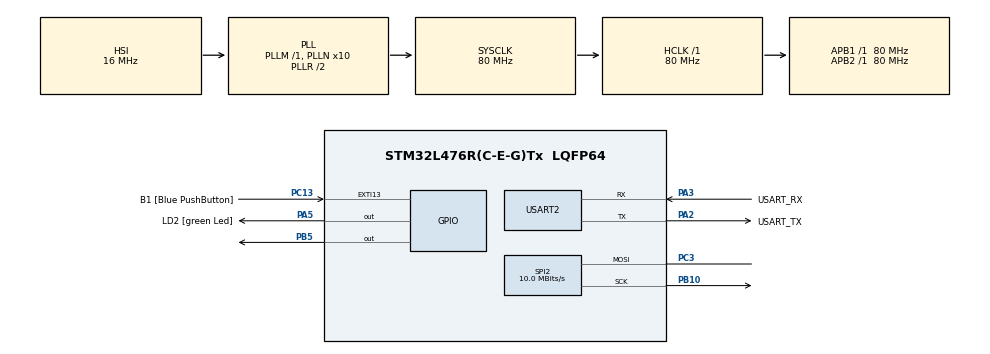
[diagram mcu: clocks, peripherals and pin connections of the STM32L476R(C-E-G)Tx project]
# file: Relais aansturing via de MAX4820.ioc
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Mcu.Family=STM32L4
Mcu.Name=STM32L476R(C-E-G)Tx
Mcu.Package=LQFP64
NVIC.PriorityGroup=NVIC_PRIORITYGROUP_4
PA13\ (JTMS-SWDIO).GPIO_Label=TMS
PA13\ (JTMS-SWDIO).Mode=Serial_Wire
PA13\ (JTMS-SWDIO).Signal=SYS_JTMS-SWDIO
PA14\ (JTCK-SWCLK).GPIO_Label=TCK
PA14\ (JTCK-SWCLK).Mode=Serial_Wire
PA14\ (JTCK-SWCLK).Signal=SYS_JTCK-SWCLK
PA2.GPIO_Label=USART_TX
PA2.GPIO_Mode=GPIO_MODE_AF_PP
PA2.GPIO_PuPd=GPIO_NOPULL
PA2.GPIO_Speed=GPIO_SPEED_FREQ_VERY_HIGH
PA2.Mode=Asynchronous
PA2.Signal=USART2_TX
PA3.GPIO_Label=USART_RX
PA3.GPIO_Mode=GPIO_MODE_AF_PP
PA3.GPIO_PuPd=GPIO_NOPULL
PA3.GPIO_Speed=GPIO_SPEED_FREQ_VERY_HIGH
PA3.Mode=Asynchronous
PA3.Signal=USART2_RX
PA5.GPIO_Label=LD2 [green Led]
PA5.GPIO_ModeDefaultOutputPP=GPIO_MODE_OUTPUT_PP
PA5.GPIO_PuPd=GPIO_NOPULL
PA5.GPIO_Speed=GPIO_SPEED_FREQ_LOW
PA5.Signal=GPIO_Output
PB10.Mode=Simplex_Bidirectional_Master
PB10.Signal=SPI2_SCK
PB3\ (JTDO-TRACESWO).GPIO_Label=SWO
PB3\ (JTDO-TRACESWO).Signal=SYS_JTDO-SWO
PB5.PinState=GPIO_PIN_SET
PB5.Signal=GPIO_Output
PC13.GPIO_Label=B1 [Blue PushButton]
PC13.GPIO_ModeDefaultEXTI=GPIO_MODE_IT_FALLING
PC13.GPIO_PuPd=GPIO_NOPULL
PC13.Signal=GPXTI13
PC14-OSC32_IN\ (PC14).Mode=LSE-External-Oscillator
PC14-OSC32_IN\ (PC14).Signal=RCC_OSC32_IN
PC15-OSC32_OUT\ (PC15).Mode=LSE-External-Oscillator
PC15-OSC32_OUT\ (PC15).Signal=RCC_OSC32_OUT
PC3.Mode=Simplex_Bidirectional_Master
PC3.Signal=SPI2_MOSI
PH0-OSC_IN\ (PH0).Signal=RCC_OSC_IN
PH1-OSC_OUT\ (PH1).Signal=RCC_OSC_OUT
ProjectManager.HeapSize=0x200
ProjectManager.StackSize=0x400
ProjectManager.TargetToolchain=STM32CubeIDE
RCC.ADCFreq_Value=64000000
RCC.AHBFreq_Value=80000000
RCC.APB1Freq_Value=80000000
RCC.APB1TimFreq_Value=80000000
RCC.APB2Freq_Value=80000000
RCC.APB2TimFreq_Value=80000000
RCC.CortexFreq_Value=80000000
RCC.HCLKFreq_Value=80000000
RCC.HSE_VALUE=8000000
RCC.HSI_VALUE=16000000
RCC.MSI_VALUE=4000000
RCC.PLLN=10
RCC.PLLSourceVirtual=RCC_PLLSOURCE_HSI
RCC.PREFETCH_ENABLE=1
RCC.SYSCLKFreq_VALUE=80000000
RCC.SYSCLKSource=RCC_SYSCLKSOURCE_PLLCLK
RCC.USBFreq_Value=64000000
RCC.VCOOutputFreq_Value=160000000
SPI2.BaudRatePrescaler=SPI_BAUDRATEPRESCALER_8
SPI2.CalculateBaudRate=10.0 MBits/s
SPI2.DataSize=SPI_DATASIZE_8BIT
SPI2.Direction=SPI_DIRECTION_1LINE
SPI2.FirstBit=SPI_FIRSTBIT_MSB
SPI2.Mode=SPI_MODE_MASTER
SPI2.VirtualType=VM_MASTER
USART2.VirtualMode-Asynchronous=VM_ASYNC
board=NUCLEO-L476RG

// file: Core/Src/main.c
/* USER CODE BEGIN Header */
/**
  ******************************************************************************
  * @file           : main.c
  * @brief          : Main program body
  ******************************************************************************
  * @attention
  *
  * Copyright (c) 2024 STMicroelectronics.
  * All rights reserved.
  *
  * This software is licensed under terms that can be found in the LICENSE file
  * in the root directory of this software component.
  * If no LICENSE file comes with this software, it is provided AS-IS.
  *
  ******************************************************************************
  */
/* USER CODE END Header */
#include "main.h"

/* USER CODE BEGIN Includes */
extern SPI_HandleTypeDef hspi2;

#define MAX4820_CS_PIN    GPIO_PIN_5   // De GPIO pin die verbonden is met CS
#define MAX4820_CS_PORT   GPIOB        // De GPIO poort die verbonden is met CS

/* USER CODE END Includes */

SPI_HandleTypeDef hspi2;

UART_HandleTypeDef huart2;

/* USER CODE BEGIN PV */
uint8_t MAX4820_SS_Pin = GPIO_PIN_5; //port B
/* USER CODE END PV */

void SystemClock_Config(void);
static void MX_GPIO_Init(void);
static void MX_USART2_UART_Init(void);
static void MX_SPI2_Init(void);
/* USER CODE BEGIN PFP */

void MAX4820_Select(void)
{
    HAL_GPIO_WritePin(MAX4820_CS_PORT, MAX4820_CS_PIN, GPIO_PIN_RESET); // CS low
}
void MAX4820_Deselect(void)
{
    HAL_GPIO_WritePin(MAX4820_CS_PORT, MAX4820_CS_PIN, GPIO_PIN_SET);   // CS high
}

void MAX4820_SendData(uint8_t data)
{
	uint8_t txData[1];
	txData[0] = data;

    MAX4820_Select();  // Activeren van CS
    HAL_SPI_Transmit(&hspi2, txData, 1, HAL_MAX_DELAY);  // Verzenden van 8 bits data
    MAX4820_Deselect();  // Deactiveren van CS
}

void MAX4820_5V_pos(void)
{
	MAX4820_SendData(0b00000110); //dec: 6
}

void MAX4820_60V_pos(void)
{
	MAX4820_SendData(0b00000101); //dec:5
}

void MAX4820_5V_neg(void)
{
	MAX4820_SendData(0b00001010); //dec: 10
}

void MAX4820_60V_neg(void)
{
	MAX4820_SendData(0b00001001); //dec: 9
}

/* USER CODE END PFP */

int main(void)
{

  /* MCU Configuration--------------------------------------------------------*/

  /* Reset of all peripherals, Initializes the Flash interface and the Systick. */
  HAL_Init();

  /* Configure the system clock */
  SystemClock_Config();

  /* Initialize all configured peripherals */
  MX_GPIO_Init();
  MX_USART2_UART_Init();
  MX_SPI2_Init();
  /* USER CODE BEGIN 2 */
  //MAX4820_5V_pos();
 //MAX4820_60V_pos();
 // MAX4820_5V_neg();
  //MAX4820_60V_neg();
  MAX4820_SendData(0b00000000);
  /* USER CODE END 2 */

  /* Infinite loop */
  while (1)
  {

  }
}

void SystemClock_Config(void)
{
  RCC_OscInitTypeDef RCC_OscInitStruct = {0};
  RCC_ClkInitTypeDef RCC_ClkInitStruct = {0};

  /** Configure the main internal regulator output voltage
  */
  if (HAL_PWREx_ControlVoltageScaling(PWR_REGULATOR_VOLTAGE_SCALE1) != HAL_OK)
  {
    Error_Handler();
  }

  /** Initializes the RCC Oscillators according to the specified parameters
  * in the RCC_OscInitTypeDef structure.
  */
  RCC_OscInitStruct.OscillatorType = RCC_OSCILLATORTYPE_HSI;
  RCC_OscInitStruct.HSIState = RCC_HSI_ON;
  RCC_OscInitStruct.HSICalibrationValue = RCC_HSICALIBRATION_DEFAULT;
  RCC_OscInitStruct.PLL.PLLState = RCC_PLL_ON;
  RCC_OscInitStruct.PLL.PLLSource = RCC_PLLSOURCE_HSI;
  RCC_OscInitStruct.PLL.PLLM = 1;
  RCC_OscInitStruct.PLL.PLLN = 10;
  RCC_OscInitStruct.PLL.PLLP = RCC_PLLP_DIV7;
  RCC_OscInitStruct.PLL.PLLQ = RCC_PLLQ_DIV2;
  RCC_OscInitStruct.PLL.PLLR = RCC_PLLR_DIV2;
  if (HAL_RCC_OscConfig(&RCC_OscInitStruct) != HAL_OK)
  {
    Error_Handler();
  }

  /** Initializes the CPU, AHB and APB buses clocks
  */
  RCC_ClkInitStruct.ClockType = RCC_CLOCKTYPE_HCLK|RCC_CLOCKTYPE_SYSCLK
                              |RCC_CLOCKTYPE_PCLK1|RCC_CLOCKTYPE_PCLK2;
  RCC_ClkInitStruct.SYSCLKSource = RCC_SYSCLKSOURCE_PLLCLK;
  RCC_ClkInitStruct.AHBCLKDivider = RCC_SYSCLK_DIV1;
  RCC_ClkInitStruct.APB1CLKDivider = RCC_HCLK_DIV1;
  RCC_ClkInitStruct.APB2CLKDivider = RCC_HCLK_DIV1;

  if (HAL_RCC_ClockConfig(&RCC_ClkInitStruct, FLASH_LATENCY_4) != HAL_OK)
  {
    Error_Handler();
  }
}

static void MX_SPI2_Init(void)
{

  /* SPI2 parameter configuration*/
  hspi2.Instance = SPI2;
  hspi2.Init.Mode = SPI_MODE_MASTER;
  hspi2.Init.Direction = SPI_DIRECTION_1LINE;
  hspi2.Init.DataSize = SPI_DATASIZE_8BIT;
  hspi2.Init.CLKPolarity = SPI_POLARITY_LOW;
  hspi2.Init.CLKPhase = SPI_PHASE_1EDGE;
  hspi2.Init.NSS = SPI_NSS_SOFT;
  hspi2.Init.BaudRatePrescaler = SPI_BAUDRATEPRESCALER_8;
  hspi2.Init.FirstBit = SPI_FIRSTBIT_MSB;
  hspi2.Init.TIMode = SPI_TIMODE_DISABLE;
  hspi2.Init.CRCCalculation = SPI_CRCCALCULATION_DISABLE;
  hspi2.Init.CRCPolynomial = 7;
  hspi2.Init.CRCLength = SPI_CRC_LENGTH_DATASIZE;
  hspi2.Init.NSSPMode = SPI_NSS_PULSE_ENABLE;
  if (HAL_SPI_Init(&hspi2) != HAL_OK)
  {
    Error_Handler();
  }

}

static void MX_USART2_UART_Init(void)
{

  huart2.Instance = USART2;
  huart2.Init.BaudRate = 115200;
  huart2.Init.WordLength = UART_WORDLENGTH_8B;
  huart2.Init.StopBits = UART_STOPBITS_1;
  huart2.Init.Parity = UART_PARITY_NONE;
  huart2.Init.Mode = UART_MODE_TX_RX;
  huart2.Init.HwFlowCtl = UART_HWCONTROL_NONE;
  huart2.Init.OverSampling = UART_OVERSAMPLING_16;
  huart2.Init.OneBitSampling = UART_ONE_BIT_SAMPLE_DISABLE;
  huart2.AdvancedInit.AdvFeatureInit = UART_ADVFEATURE_NO_INIT;
  if (HAL_UART_Init(&huart2) != HAL_OK)
  {
    Error_Handler();
  }

}

static void MX_GPIO_Init(void)
{
  GPIO_InitTypeDef GPIO_InitStruct = {0};

  /* GPIO Ports Clock Enable */
  __HAL_RCC_GPIOC_CLK_ENABLE();
  __HAL_RCC_GPIOH_CLK_ENABLE();
  __HAL_RCC_GPIOA_CLK_ENABLE();
  __HAL_RCC_GPIOB_CLK_ENABLE();

  /*Configure GPIO pin Output Level */
  HAL_GPIO_WritePin(LD2_GPIO_Port, LD2_Pin, GPIO_PIN_RESET);

  /*Configure GPIO pin Output Level */
  HAL_GPIO_WritePin(GPIOB, GPIO_PIN_5, GPIO_PIN_SET);

  /*Configure GPIO pin : B1_Pin */
  GPIO_InitStruct.Pin = B1_Pin;
  GPIO_InitStruct.Mode = GPIO_MODE_IT_FALLING;
  GPIO_InitStruct.Pull = GPIO_NOPULL;
  HAL_GPIO_Init(B1_GPIO_Port, &GPIO_InitStruct);

  /*Configure GPIO pin : LD2_Pin */
  GPIO_InitStruct.Pin = LD2_Pin;
  GPIO_InitStruct.Mode = GPIO_MODE_OUTPUT_PP;
  GPIO_InitStruct.Pull = GPIO_NOPULL;
  GPIO_InitStruct.Speed = GPIO_SPEED_FREQ_LOW;
  HAL_GPIO_Init(LD2_GPIO_Port, &GPIO_InitStruct);

  /*Configure GPIO pin : PB5 */
  GPIO_InitStruct.Pin = GPIO_PIN_5;
  GPIO_InitStruct.Mode = GPIO_MODE_OUTPUT_PP;
  GPIO_InitStruct.Pull = GPIO_NOPULL;
  GPIO_InitStruct.Speed = GPIO_SPEED_FREQ_LOW;
  HAL_GPIO_Init(GPIOB, &GPIO_InitStruct);

}

void Error_Handler(void)
{
  __disable_irq();
  while (1)
  {
  }
}
